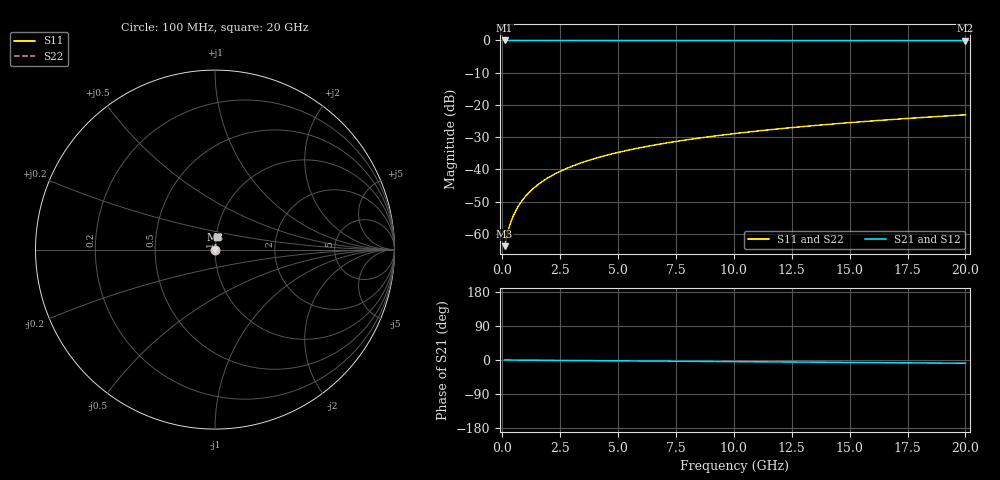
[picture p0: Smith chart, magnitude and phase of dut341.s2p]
! Touchstone file exported from HFSS 2026.1.0
!  File:  C:/ffzhzh/LocalFiles/Ansys_Project_Files/temp_train_TSV_341_1783018876_55676.aedt
!  Generated:  03:03:31 AM Jul  3, 2026
!  Design:  TSV
!  Project:  temp_train_TSV_341_1783018876_55676
! Variables:
!  h_bsmrdl = 2um
!  h_ox = 20um
!  h_rdl = 5um
!  h_sub = 73.81um
!  h_tmrdl = 5um
!  h_tsv = 73.81um
!  h_via = 3um
!  l_bsmrdl = 300um
!  l_sub = 408.4um
!  l_tmrdl = 200um
!  m_sub = 200um
!  pitch = 36.92um
!  r_tsv = 4.2um
!  s_tmrdl = 10um
!  w_bsmrdl = 18um
!  w_sub = 500um
!  w_tmrdl = 12um
!  x_tsv_center1 = 206um
!  x_tsv_center2 = 524um
!  x_tsv_center3 = 736um
!  x_tsv_center4 = 1054um
!  x_tsv_center5 = 1266um
!  x_tsv_center6 = 1584um
# GHz S MA R 50.000000
! Terminal data exported
! Port[1] = TSV1_1_T1
! Port[2] = TSV1_1_T2
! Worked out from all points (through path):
!   200 points, 100 MHz to 20 GHz, reference 50 ohm
!   highest |S21| = 0.00 dB at 100 MHz (marker M1); lowest = 0.0 dB at 20 GHz (marker M2)
!   group delay of S21, straight-line fit = 1.18 ps
!   lowest |S11| = -63.9 dB at 100 MHz (marker M3), VSWR 1.00, Z = 50.1 + j0.039 ohm
!   |S11| at or under -10 dB: start of sweep to end of sweep
!   |S22| runs from -63.9 to -23.1 dB; largest |S21 - S12| = 3.1e-15
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0.1  0.0006415 37.4  0.9995 -0.0  0.9995 -0.0  0.0006415 37.4
! Gamma 0 0 0 0
! Port Impedance 50 0 50 0
0.2  0.0009337 56.1  0.9995 -0.1  0.9995 -0.1  0.0009337 56.1
0.3  0.001273 65.1  0.9995 -0.1  0.9995 -0.1  0.001273 65.1
0.4  0.001626 70.2  0.9995 -0.2  0.9995 -0.2  0.001626 70.2
0.5  0.001984 73.5  0.9994 -0.2  0.9994 -0.2  0.001984 73.5
0.6  0.002345 75.7  0.9994 -0.3  0.9994 -0.3  0.002345 75.7
0.8  0.003072 78.6  0.9994 -0.4  0.9994 -0.4  0.003072 78.6
1.1  0.00417 81.1  0.9994 -0.5  0.9994 -0.5  0.00417 81.1
1.5  0.005639 82.7  0.9993 -0.7  0.9993 -0.7  0.005639 82.7
1.8  0.00674 83.4  0.9993 -0.8  0.9993 -0.8  0.00674 83.4
2.1  0.00784 83.8  0.9992 -0.9  0.9992 -0.9  0.00784 83.8
2.7  0.01003 84.3  0.9992 -1.2  0.9992 -1.2  0.01003 84.3
3.5  0.01293 84.5  0.999 -1.5  0.999 -1.5  0.01293 84.5
4.2  0.01544 84.4  0.9989 -1.8  0.9989 -1.8  0.01544 84.4
5  0.01828 84.3  0.9987 -2.2  0.9987 -2.2  0.01828 84.3
5.9  0.02146 84.2  0.9985 -2.5  0.9985 -2.5  0.02146 84.2
6.8  0.02462 83.9  0.9984 -2.9  0.9984 -2.9  0.02462 83.9
8.3  0.02986 83.5  0.998 -3.6  0.998 -3.6  0.02986 83.5
10.1  0.03611 83.0  0.9977 -4.3  0.9977 -4.3  0.03611 83.0
13.4  0.04752 82.0  0.997 -5.7  0.997 -5.7  0.04752 82.0
16.7  0.05886 80.8  0.9961 -7.1  0.9961 -7.1  0.05886 80.8
20  0.07011 79.6  0.9952 -8.5  0.9952 -8.5  0.07011 79.6
